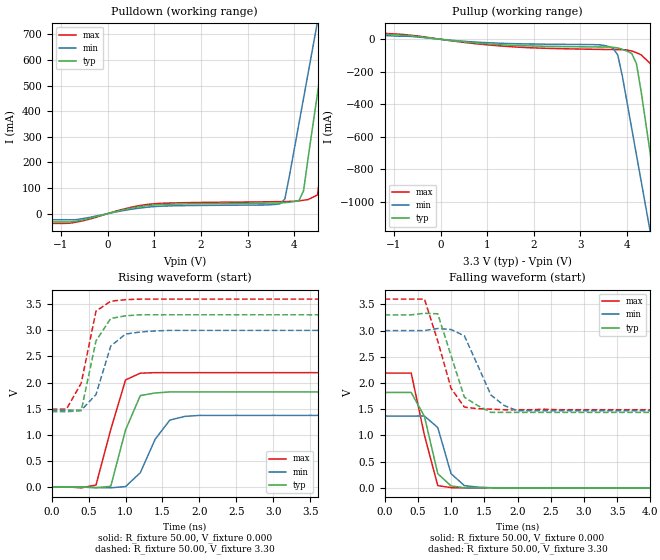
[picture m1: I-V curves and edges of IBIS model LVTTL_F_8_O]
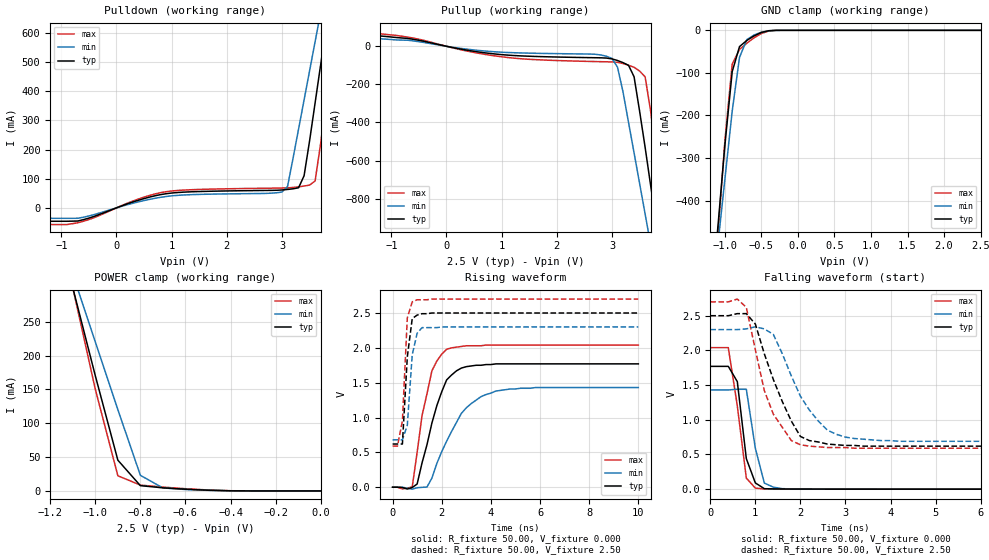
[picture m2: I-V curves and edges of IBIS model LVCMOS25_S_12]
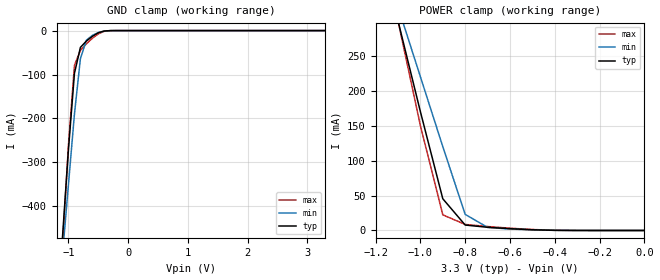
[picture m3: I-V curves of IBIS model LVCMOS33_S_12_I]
| / 7\'7
| \ \   Xilinx Inc.
| / /
| \_\/.\   IBIS Models for Spartan-3E
[IBIS ver]   3.2
[File name]   Top.ibs
[File Rev]   1.5
[Date]   Mon Nov 21 17:32:13 2011
[Source]   HSPICE simulations
[Notes]   IBIS models for Spartan-3E
[Disclaimer]
|   The data in this model is derived from SPICE simulations using
|   modeling information extracted from the target process. While
|   a great deal of care has been taken to provide information
|   that is accurate, this model is considered preliminary as it
|   has not been verified by actual silicon measurement. Treat the
|   data in this model as preliminary until actual silicon
|   verification is performed.
|   To accurately model package parasitics, please follow the
|   instructions at:  http://www.xilinx.com/xlnx/
|   xil_ans_display.jsp?getPagePath=11754
|   LVDS and LVPECL drivers require the use of external
|   termination resistors to provide the correct voltage levels.
|   For more information, refer to the Spartan-3 documentation.
|   NOTE: This file is compliant with IBIS Version 3.2, but it
|   may not implement all approved 3.2 features.
|   NOTE:  Newer versions of the buffer models may be available.
|   Check the web (http://www.xilinx.com/support/sw_ibis.htm) for
|   the latest file revision.  However, please be aware that the
|   web files are not compatible for use with IBISWriter, and
|   must be manually annotated, should their use be preferred.
[Copyright]
| Copyright 2006, Xilinx Inc., All rights reserved
|   Component Spartan-3E
[Component]   Spartan-3E
[Manufacturer]   Xilinx Inc.
[Package]
| For Package Type fg320
| variable   typ   min   max
R_pkg   279.84m   143.60m   397.60m
L_pkg   5.05nH   2.59nH   7.05nH
C_pkg   0.88pF   0.46pF   1.61pF
[Pin]  signal_name   model_name   R_pin   L_pin   C_pin
G15   color<0>   LVTTL_F_8_O
H15   color<1>   LVTTL_F_8_O
H14   color<2>   LVTTL_F_8_O
F15   hsync   LVTTL_F_8_O
G13   PS2_DATA   LVCMOS33_S_12_I
C9   inCLK_50MHZ   LVCMOS33_S_12_I
F14   vsync   LVTTL_F_8_O
G14   PS2_CLK   LVCMOS33_S_12_I
V4   BTN_NORTH   LVTTL_S_12_I
B1   PROG_B   LVCMOS25_S_12
U3   CSO_B   LVCMOS25_S_12
T3   INIT_B   LVCMOS25_S_12
T4   MOSI/CSI_B   LVCMOS25_S_12
N9   D7/GCLK12   LVCMOS25_S_12
M9   D6/GCLK13   LVCMOS25_S_12
R9   D5   LVCMOS25_S_12
U9   D4/GCLK14   LVCMOS25_S_12
V9   D3/GCLK15   LVCMOS25_S_12
U10   RDWR_B/GCLK0   LVCMOS25_S_12
T10   M2/GCLK1   LVCMOS25_S_12
R10   D2/GCLK2   LVCMOS25_S_12
P10   D1/GCLK3   LVCMOS25_S_12
V11   M1   LVCMOS25_S_12
M10   M0   LVCMOS25_S_12
N10   DIN/D0   LVCMOS25_S_12
P13   A23   LVCMOS25_S_12
R13   A22   LVCMOS25_S_12
T14   A21   LVCMOS25_S_12
R14   A20   LVCMOS25_S_12
U16   CCLK   LVCMOS25_S_12
V17   DONE   LVCMOS25_S_12
U18   A16   LVCMOS25_S_12
T17   A15   LVCMOS25_S_12
R18   A14   LVCMOS25_S_12
T18   A13   LVCMOS25_S_12
L16   A12   LVCMOS25_S_12
L15   A11   LVCMOS25_S_12
K13   A10/RHCLK0   LVCMOS25_S_12
K12   A9/RHCLK1   LVCMOS25_S_12
K15   A8/RHCLK2   LVCMOS25_S_12
K14   A7/RHCLK3/TRDY1   LVCMOS25_S_12
J17   A6/RHCLK4/IRDY1   LVCMOS25_S_12
J16   A5/RHCLK5   LVCMOS25_S_12
J15   A4/RHCLK6   LVCMOS25_S_12
J14   A3/RHCLK7   LVCMOS25_S_12
J12   A2   LVCMOS25_S_12
J13   A1   LVCMOS25_S_12
H17   A0   LVCMOS25_S_12
D17   HDC   LVCMOS25_S_12
D16   LDC0   LVCMOS25_S_12
C18   LDC1   LVCMOS25_S_12
C17   LDC2   LVCMOS25_S_12
D15   TMS   LVCMOS25_S_12
C16   TDO   LVCMOS25_S_12
A17   TCK   LVCMOS25_S_12
B3   HSWAP   LVCMOS25_S_12
A2   TDI   LVCMOS25_S_12
A1   GND   GND
B2   GND   GND
A18   GND   GND
B17   GND   GND
V1   GND   GND
U2   GND   GND
V18   GND   GND
U17   GND   GND
C10   GND   GND
G7   GND   GND
G12   GND   GND
H8   GND   GND
H9   GND   GND
H10   GND   GND
H11   GND   GND
J8   GND   GND
K8   GND   GND
J11   GND   GND
K11   GND   GND
L8   GND   GND
L9   GND   GND
L10   GND   GND
L11   GND   GND
M7   GND   GND
M12   GND   GND
J3   GND   GND
K16   GND   GND
T9   GND   GND
B7   VCCAUX   POWER
B12   VCCAUX   POWER
G2   VCCAUX   POWER
M2   VCCAUX   POWER
G17   VCCAUX   POWER
M17   VCCAUX   POWER
U7   VCCAUX   POWER
U12   VCCAUX   POWER
A9   VCCO_0   POWER
C6   VCCO_0   POWER
C13   VCCO_0   POWER
G8   VCCO_0   POWER
G11   VCCO_0   POWER
J18   VCCO_1   POWER
F16   VCCO_1   POWER
N16   VCCO_1   POWER
H12   VCCO_1   POWER
L12   VCCO_1   POWER
V10   VCCO_2   POWER
T6   VCCO_2   POWER
T13   VCCO_2   POWER
M8   VCCO_2   POWER
M11   VCCO_2   POWER
K1   VCCO_3   POWER
F3   VCCO_3   POWER
N3   VCCO_3   POWER
H7   VCCO_3   POWER
L7   VCCO_3   POWER
E5   VCCINT   POWER
F6   VCCINT   POWER
E14   VCCINT   POWER
F13   VCCINT   POWER
N6   VCCINT   POWER
P5   VCCINT   POWER
N13   VCCINT   POWER
P14   VCCINT   POWER
| Models and submodels in the file (4): LVTTL_F_8_O (Output), LVCMOS25_S_12 (I/O), LVCMOS33_S_12_I (Input), LVTTL_S_12_I (Input)
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|   Model LVTTL_F_8_O
[Model]   LVTTL_F_8_O
Model_type   Output
Polarity   Non-Inverting
Enable   Active-Low
Vmeas =   1.40V
Cref =  0.000F
Rref =  1MOhm
Vref =  0.000V
C_comp   1.50pF   1.30pF   1.70pF
[Temperature Range]   25.00   85.00   0.000
[Voltage Range]   3.30V   3.00V   3.60V
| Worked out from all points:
|   slope of the pulldown table from 0 to 0.495 V, typ, clamps not added: 23.5 ohm
|   slope of the pullup table from 0 to 0.495 V, typ, clamps not added: 31.1 ohm
|   rising waveform, R_fixture 50.00, V_fixture 0.000: 20-80 % time 245ps typ, 299ps min, 262ps max; typ from 0 V to 1.82 V
|   rising waveform, R_fixture 50.00, V_fixture 3.30: 20-80 % time 207ps typ, 197ps min, 203ps max; typ from 1.44 V to 3.3 V
|   falling waveform, R_fixture 50.00, V_fixture 0.000: 20-80 % time 224ps typ, 187ps min, 244ps max; typ from 1.82 V to 0 V
|   falling waveform, R_fixture 50.00, V_fixture 3.30: 20-80 % time 281ps typ, 324ps min, 292ps max; typ from 3.3 V to 1.44 V
[Pulldown]
| voltage   I(typ)   I(min)   I(max)
-3.3V     -32.69mA   -23.84mA   -38.22mA
-800mV    -32.69mA   -23.84mA   -37.14mA
3.7V      41.74mA    38.61mA    46.86mA
3.8V      42.83mA    57.41mA    47.18mA
4.1V      50.6mA     350mA      49.77mA
4.2V      88.62mA    450mA      52.14mA
4.3V      220mA      550mA      55.08mA
4.5V      470mA      750mA      73.07mA
4.7V      730mA      950mA      350mA
4.9V      990mA      1.15A      640mA
5.1V      1.25A      1.36A      940mA
6.6V      3.21A      2.88A      3.17A
[Pullup]
| voltage   I(typ)   I(min)   I(max)
-3.3V     46mA       37mA       54mA
1.6V      -37.86mA   -27.14mA   -47.21mA
3.6V      -48.03mA   -44.2mA    -62.74mA
3.8V      -53.49mA   -97.22mA   -63.49mA
4.1V      -87.5mA    -550mA     -71.95mA
4.2V      -150mA     -710mA     -82.34mA
4.3V      -320mA     -870mA     -95.34mA
4.5V      -710mA     -1.19A     -150mA
4.7V      -1.1A      -1.51A     -560mA
4.9V      -1.49A     -1.83A     -1.03A
5.1V      -1.88A     -2.15A     -1.49A
6.6V      -4.81A     -4.57A     -5.02A
[Ramp]
dV/dt_r   1.09/0.18n   0.82/0.21n   1.31/0.15n
dV/dt_f   1.11/0.24n   0.92/0.29n   1.26/0.23n
R_load = 50.00
[Rising Waveform]
R_fixture = 50.00
V_fixture = 0.000
| time   V(typ)   V(min)   V(max)
0s        0V         0V         0V
400ps     -3.55mV    -5.74uV    -20.09mV
600ps     -19.32mV   -12.44mV   35.07mV
800ps     10.29mV    -19.59mV   1.1V
1ns       1.09V      4.61mV     2.05V
1.2ns     1.75V      270mV      2.18V
1.4ns     1.8V       910mV      2.19V
1.6ns     1.82V      1.28V      2.19V
1.8ns     1.82V      1.35V      2.19V
10ns      1.82V      1.37V      2.19V
[Rising Waveform]
R_fixture = 50.00
V_fixture = 3.30
V_fixture_min = 3.00
V_fixture_max = 3.60
| time   V(typ)   V(min)   V(max)
0s        1.44V      1.47V      1.49V
200ps     1.44V      1.47V      1.49V
400ps     1.46V      1.47V      1.99V
600ps     2.8V       1.77V      3.37V
800ps     3.23V      2.7V       3.56V
1ns       3.28V      2.93V      3.59V
1.2ns     3.3V       2.97V      3.6V
1.6ns     3.3V       3V         3.6V
10ns      3.3V       3V         3.6V
[Falling Waveform]
R_fixture = 50.00
V_fixture = 0.000
| time   V(typ)   V(min)   V(max)
0s        1.82V      1.37V      2.19V
400ps     1.82V      1.37V      2.19V
600ps     1.36V      1.37V      1V
800ps     270mV      1.15V      42.77mV
1ns       36.67mV    270mV      4.06mV
1.2ns     2.11mV     43.13mV    -55.16uV
1.4ns     790uV      13.87mV    20.18uV
2ns       10.45uV    -2.28uV    27.71uV
10ns      -2.38uV    2.95uV     3.64uV
[Falling Waveform]
R_fixture = 50.00
V_fixture = 3.30
V_fixture_min = 3.00
V_fixture_max = 3.60
| time   V(typ)   V(min)   V(max)
0s        3.3V       3V         3.6V
400ps     3.3V       3V         3.6V
600ps     3.33V      3V         3.6V
800ps     3.32V      3.04V      2.8V
1ns       2.52V      3.02V      1.9V
1.2ns     1.73V      2.9V       1.54V
1.6ns     1.44V      1.77V      1.5V
1.8ns     1.44V      1.57V      1.49V
2ns       1.44V      1.47V      1.49V
10ns      1.44V      1.47V      1.49V
|   Model LVCMOS25_S_12
[Model]   LVCMOS25_S_12
Model_type   I/O
Polarity   Non-Inverting
Enable   Active-Low
Vinl =   0.70V
Vinh =   1.70V
Vmeas =   1.25V
Cref =  0.000F
Rref =  1MOhm
Vref =  0.000V
C_comp   1.50pF   1.30pF   1.70pF
[Temperature Range]   25.00   85.00   0.000
[Voltage Range]   2.50V   2.30V   2.70V
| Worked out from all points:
|   slope of the pulldown table from 0 to 0.375 V, typ, clamps not added: 15.1 ohm
|   slope of the pullup table from 0 to 0.375 V, typ, clamps not added: 18.1 ohm
|   GND clamp passes 1 mA (typ) near -0.40 V on its own axis
|   POWER clamp passes 1 mA (typ) near -0.50 V on its own axis
|   rising waveform, R_fixture 50.00, V_fixture 0.000: 20-80 % time 851ps typ, 1.26ns min, 614ps max; typ from 0 V to 1.77 V
|   rising waveform, R_fixture 50.00, V_fixture 2.50: 20-80 % time 232ps typ, 226ps min, 171ps max; typ from 0.62 V to 2.5 V
|   falling waveform, R_fixture 50.00, V_fixture 0.000: 20-80 % time 225ps typ, 251ps min, 255ps max; typ from 1.77 V to 0 V
|   falling waveform, R_fixture 50.00, V_fixture 2.50: 20-80 % time 670ps typ, 789ps min, 559ps max; typ from 2.5 V to 0.62 V
[Pulldown]
| voltage   I(typ)   I(min)   I(max)
-2.5V     -45.98mA   -35.9mA    -57.32mA
-900mV    -45.98mA   -35.9mA    -57.32mA
900mV     48.52mA    38.96mA    55.38mA
3V        61.37mA    54.24mA    68.01mA
3.1V      63.12mA    73.01mA    68.54mA
3.3V      68.84mA    270mA      72.06mA
3.4V      110mA      370mA      74.78mA
3.5V      230mA      470mA      78.11mA
3.6V      360mA      570mA      92.25mA
3.8V      620mA      770mA      370mA
4V        880mA      970mA      660mA
5V        2.18A      1.98A      2.14A
[Pullup]
| voltage   I(typ)   I(min)   I(max)
-2.5V     72mA       55mA       87mA
-900mV    45.71mA    33.1mA     56.74mA
1.1V      -46.15mA   -32.5mA    -58.58mA
2.8V      -60.59mA   -45.67mA   -80.85mA
3.1V      -74.77mA   -110mA     -84.17mA
3.2V      -85.87mA   -240mA     -90.52mA
3.4V      -160mA     -560mA     -110mA
3.6V      -530mA     -880mA     -160mA
3.7V      -730mA     -1.04A     -340mA
3.8V      -920mA     -1.2A      -580mA
4V        -1.31A     -1.52A     -1.04A
5V        -3.26A     -3.13A     -3.39A
[GND_clamp]
| voltage   I(typ)   I(min)   I(max)
-2.5V     -3.19A     -2.76A     -3.77A
-1.1V     -470mA     -510mA     -490mA
-1V       -270mA     -350mA     -260mA
-900mV    -97.22mA   -190mA     -79.28mA
-800mV    -38.27mA   -63.6mA    -44.92mA
-700mV    -23.77mA   -21.82mA   -30.15mA
-600mV    -13.05mA   -10.93mA   -17.48mA
-500mV    -5.01mA    -4.37mA    -7.42mA
-400mV    -940uA     -990uA     -1.6mA
-300mV    -78.43uA   -120uA     -130uA
2.5V      11.7nA     2.25uA     11.13nA
[POWER_clamp]
| voltage   I(typ)   I(min)   I(max)
-2.5V     2.1A       1.72A      2.35A
-1.1V     300mA      320mA      300mA
-1V       170mA      220mA      150mA
-900mV    45.39mA    120mA      22.39mA
-800mV    7.78mA     23.01mA    8.63mA
-700mV    4.56mA     4.41mA     5.65mA
-600mV    2.55mA     2.06mA     3.26mA
-400mV    200uA      200uA      300uA
0V        11.7nA     65.87nA    13.21nA
[Ramp]
dV/dt_r   1.06/0.80n   0.86/1.33n   1.22/0.56n
dV/dt_f   1.13/0.61n   0.97/0.78n   1.27/0.50n
R_load = 50.00
[Rising Waveform]
R_fixture = 50.00
V_fixture = 0.000
| time   V(typ)   V(min)   V(max)
0s        0V         0V         0V
800ps     -4.14mV    -27.72mV   5.08mV
1ns       46.62mV    -7.11mV    500mV
1.2ns     350mV      -1.57mV    1.03V
1.4ns     610mV      2.59mV     1.34V
1.6ns     920mV      130mV      1.67V
2.2ns     1.54V      660mV      1.98V
3ns       1.73V      1.14V      2.03V
4.2ns     1.77V      1.38V      2.04V
10ns      1.77V      1.43V      2.04V
[Rising Waveform]
R_fixture = 50.00
V_fixture = 2.50
V_fixture_min = 2.30
V_fixture_max = 2.70
| time   V(typ)   V(min)   V(max)
0s        620mV      680mV      590mV
200ps     620mV      680mV      590mV
400ps     620mV      680mV      950mV
600ps     1.87V      890mV      2.43V
800ps     2.42V      1.9V       2.66V
1ns       2.47V      2.21V      2.69V
1.2ns     2.49V      2.29V      2.69V
1.6ns     2.5V       2.29V      2.7V
2ns       2.5V       2.3V       2.7V
10ns      2.5V       2.3V       2.7V
[Falling Waveform]
R_fixture = 50.00
V_fixture = 0.000
| time   V(typ)   V(min)   V(max)
0s        1.77V      1.43V      2.04V
400ps     1.77V      1.43V      2.04V
600ps     1.55V      1.44V      1.2V
800ps     440mV      1.44V      160mV
1ns       90.24mV    590mV      15.1mV
1.2ns     6.64mV     87.43mV    2.58mV
1.4ns     3.92mV     29.03mV    2.66mV
1.6ns     2.4mV      7.15mV     1.89mV
10ns      21.58uV    6.88uV     -670nV
[Falling Waveform]
R_fixture = 50.00
V_fixture = 2.50
V_fixture_min = 2.30
V_fixture_max = 2.70
| time   V(typ)   V(min)   V(max)
0s        2.5V       2.3V       2.7V
600ps     2.53V      2.3V       2.74V
800ps     2.53V      2.31V      2.62V
1ns       2.38V      2.34V      2.01V
1.2ns     1.95V      2.31V      1.42V
1.4ns     1.58V      2.23V      1.08V
2ns       760mV      1.34V      640mV
2.6ns     650mV      850mV      600mV
3.2ns     630mV      730mV      590mV
10ns      620mV      680mV      590mV
|   Model LVCMOS33_S_12_I
[Model]   LVCMOS33_S_12_I
Model_type   Input
Polarity   Non-Inverting
Vinl =   0.80V
Vinh =   2.00V
C_comp   1.50pF   1.30pF   1.70pF
[Temperature Range]   25.00   85.00   0.000
[Voltage Range]   3.30V   3.00V   3.60V
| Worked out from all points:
|   GND clamp passes 1 mA (typ) near -0.40 V on its own axis
|   POWER clamp passes 1 mA (typ) near -0.50 V on its own axis
[GND_clamp]
| voltage   I(typ)   I(min)   I(max)
-3.3V     -4.75A     -4.04A     -5.65A
-1.1V     -470mA     -510mA     -490mA
-1V       -270mA     -350mA     -260mA
-900mV    -97.22mA   -190mA     -79.28mA
-800mV    -38.27mA   -63.6mA    -44.92mA
-700mV    -23.78mA   -21.82mA   -30.15mA
-600mV    -13.05mA   -10.93mA   -17.48mA
-500mV    -5.01mA    -4.37mA    -7.42mA
-400mV    -940uA     -990uA     -1.6mA
-300mV    -78.45uA   -120uA     -130uA
3.3V      17.84nA    24.91uA    18.28nA
[POWER_clamp]
| voltage   I(typ)   I(min)   I(max)
-3.3V     3.14A      2.52A      3.53A
-1.1V     300mA      320mA      300mA
-1V       170mA      220mA      150mA
-900mV    45.39mA    120mA      22.39mA
-800mV    7.78mA     23.01mA    8.63mA
-700mV    4.56mA     4.41mA     5.65mA
-600mV    2.55mA     2.06mA     3.26mA
-400mV    200uA      200uA      300uA
0V        17.84nA    86.83nA    23.01nA
